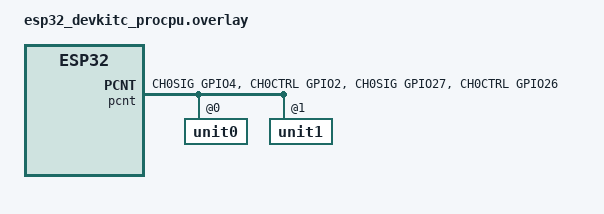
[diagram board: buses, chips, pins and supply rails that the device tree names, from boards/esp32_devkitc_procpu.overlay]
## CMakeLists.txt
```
# SPDX-License-Identifier: Apache-2.0

cmake_minimum_required(VERSION 3.28.0)
find_package(Zephyr REQUIRED HINTS $ENV{ZEPHYR_BASE})
project(pcnt_trigger)

file(GLOB app_sources src/*.c)
target_sources(app PRIVATE ${app_sources})
```

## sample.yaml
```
sample:
  description: ESP32 PCNT per-unit threshold trigger sample
  name: ESP32 qdec per-unit trigger
tests:
  sample.esp32.qdec_trigger:
    build_only: true
    tags:
      - samples
      - sensor
    platform_allow:
      - esp32_devkitc/esp32/procpu
      - esp32s2_saola
      - esp32s3_devkitc/esp32s3/procpu
      - esp32c5_devkitc/esp32c5/hpcore
      - esp32c6_devkitc/esp32c6/hpcore
      - esp32h2_devkitm/esp32h2
      - esp32p4_function_ev_board/esp32p4/hpcore
    depends_on: pinctrl
```

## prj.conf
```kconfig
CONFIG_SENSOR=y
CONFIG_PCNT_ESP32_TRIGGER=y
CONFIG_PRINTK=y
```

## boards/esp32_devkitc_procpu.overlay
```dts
/*
 * SPDX-License-Identifier: Apache-2.0
 *
 * Copyright (c) 2026 Espressif Systems (Shanghai) Co., Ltd.
 */

&pinctrl {
	pcnt_default: pcnt_default {
		group1 {
			pinmux = <PCNT0_CH0SIG_GPIO4>,
				 <PCNT0_CH0CTRL_GPIO2>,
				 <PCNT1_CH0SIG_GPIO27>,
				 <PCNT1_CH0CTRL_GPIO26>;
			bias-pull-up;
		};
	};
};

&pcnt {
	pinctrl-0 = <&pcnt_default>;
	pinctrl-names = "default";
	#address-cells = <1>;
	#size-cells = <0>;
	status = "okay";

	unit0@0 {
		reg = <0>;
		#address-cells = <1>;
		#size-cells = <0>;
		filter = <100>;
		counts-per-revolution = <400>;

		channelA@0 {
			reg = <0>;
			sig-pos-mode = <1>;
			sig-neg-mode = <0>;
			ctrl-h-mode = <0>;
			ctrl-l-mode = <0>;
		};
	};

	unit1@1 {
		reg = <1>;
		#address-cells = <1>;
		#size-cells = <0>;
		filter = <100>;
		counts-per-revolution = <400>;

		channelA@0 {
			reg = <0>;
			sig-pos-mode = <1>;
			sig-neg-mode = <0>;
			ctrl-h-mode = <0>;
			ctrl-l-mode = <0>;
		};
	};
};
```

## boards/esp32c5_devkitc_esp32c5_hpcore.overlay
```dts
/*
 * SPDX-License-Identifier: Apache-2.0
 *
 * Copyright (c) 2026 Espressif Systems (Shanghai) Co., Ltd.
 */

&pinctrl {
	pcnt_default: pcnt_default {
		group1 {
			pinmux = <PCNT0_CH0SIG_GPIO1>,
				 <PCNT0_CH0CTRL_GPIO9>,
				 <PCNT1_CH0SIG_GPIO13>,
				 <PCNT1_CH0CTRL_GPIO14>;
			bias-pull-up;
		};
	};
};

&pcnt {
	pinctrl-0 = <&pcnt_default>;
	pinctrl-names = "default";
	#address-cells = <1>;
	#size-cells = <0>;
	status = "okay";

	unit0@0 {
		reg = <0>;
		#address-cells = <1>;
		#size-cells = <0>;
		filter = <100>;
		counts-per-revolution = <400>;

		channelA@0 {
			reg = <0>;
			sig-pos-mode = <1>;
			sig-neg-mode = <0>;
			ctrl-h-mode = <0>;
			ctrl-l-mode = <0>;
		};
	};

	unit1@1 {
		reg = <1>;
		#address-cells = <1>;
		#size-cells = <0>;
		filter = <100>;
		counts-per-revolution = <400>;

		channelA@0 {
			reg = <0>;
			sig-pos-mode = <1>;
			sig-neg-mode = <0>;
			ctrl-h-mode = <0>;
			ctrl-l-mode = <0>;
		};
	};
};
```

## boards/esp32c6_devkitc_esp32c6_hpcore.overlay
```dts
/*
 * SPDX-License-Identifier: Apache-2.0
 *
 * Copyright (c) 2026 Espressif Systems (Shanghai) Co., Ltd.
 */

&pinctrl {
	pcnt_default: pcnt_default {
		group1 {
			pinmux = <PCNT0_CH0SIG_GPIO1>,
				 <PCNT0_CH0CTRL_GPIO15>,
				 <PCNT1_CH0SIG_GPIO3>,
				 <PCNT1_CH0CTRL_GPIO4>;
			bias-pull-up;
		};
	};
};

&pcnt {
	pinctrl-0 = <&pcnt_default>;
	pinctrl-names = "default";
	#address-cells = <1>;
	#size-cells = <0>;
	status = "okay";

	unit0@0 {
		reg = <0>;
		#address-cells = <1>;
		#size-cells = <0>;
		filter = <100>;
		counts-per-revolution = <400>;

		channelA@0 {
			reg = <0>;
			sig-pos-mode = <1>;
			sig-neg-mode = <0>;
			ctrl-h-mode = <0>;
			ctrl-l-mode = <0>;
		};
	};

	unit1@1 {
		reg = <1>;
		#address-cells = <1>;
		#size-cells = <0>;
		filter = <100>;
		counts-per-revolution = <400>;

		channelA@0 {
			reg = <0>;
			sig-pos-mode = <1>;
			sig-neg-mode = <0>;
			ctrl-h-mode = <0>;
			ctrl-l-mode = <0>;
		};
	};
};
```

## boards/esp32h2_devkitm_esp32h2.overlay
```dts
/*
 * SPDX-License-Identifier: Apache-2.0
 *
 * Copyright (c) 2026 Espressif Systems (Shanghai) Co., Ltd.
 *
 * H2 PCNT input matrix only reaches GPIOs 0-5, 8-14, 22-27.
 */

&pinctrl {
	pcnt_default: pcnt_default {
		group1 {
			pinmux = <PCNT0_CH0SIG_GPIO0>,
				 <PCNT0_CH0CTRL_GPIO4>,
				 <PCNT1_CH0SIG_GPIO1>,
				 <PCNT1_CH0CTRL_GPIO5>;
			bias-pull-up;
		};
	};
};

&pcnt {
	pinctrl-0 = <&pcnt_default>;
	pinctrl-names = "default";
	#address-cells = <1>;
	#size-cells = <0>;
	status = "okay";

	unit0@0 {
		reg = <0>;
		#address-cells = <1>;
		#size-cells = <0>;
		filter = <100>;
		counts-per-revolution = <400>;

		channelA@0 {
			reg = <0>;
			sig-pos-mode = <1>;
			sig-neg-mode = <0>;
			ctrl-h-mode = <0>;
			ctrl-l-mode = <0>;
		};
	};

	unit1@1 {
		reg = <1>;
		#address-cells = <1>;
		#size-cells = <0>;
		filter = <100>;
		counts-per-revolution = <400>;

		channelA@0 {
			reg = <0>;
			sig-pos-mode = <1>;
			sig-neg-mode = <0>;
			ctrl-h-mode = <0>;
			ctrl-l-mode = <0>;
		};
	};
};
```

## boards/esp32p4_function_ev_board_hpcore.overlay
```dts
/*
 * SPDX-License-Identifier: Apache-2.0
 *
 * Copyright (c) 2026 Espressif Systems (Shanghai) Co., Ltd.
 */

&pinctrl {
	pcnt_default: pcnt_default {
		group1 {
			pinmux = <PCNT0_CH0SIG_GPIO10>,
				 <PCNT0_CH0CTRL_GPIO11>,
				 <PCNT1_CH0SIG_GPIO12>,
				 <PCNT1_CH0CTRL_GPIO13>;
			bias-pull-up;
		};
	};
};

&pcnt {
	pinctrl-0 = <&pcnt_default>;
	pinctrl-names = "default";
	status = "okay";
	#address-cells = <1>;
	#size-cells = <0>;

	unit0@0 {
		reg = <0>;
		#address-cells = <1>;
		#size-cells = <0>;
		filter = <100>;
		counts-per-revolution = <400>;

		channelA@0 {
			reg = <0>;
			sig-pos-mode = <1>;
			sig-neg-mode = <0>;
			ctrl-h-mode = <0>;
			ctrl-l-mode = <0>;
		};
	};

	unit1@1 {
		reg = <1>;
		#address-cells = <1>;
		#size-cells = <0>;
		filter = <100>;
		counts-per-revolution = <400>;

		channelA@0 {
			reg = <0>;
			sig-pos-mode = <1>;
			sig-neg-mode = <0>;
			ctrl-h-mode = <0>;
			ctrl-l-mode = <0>;
		};
	};
};
```

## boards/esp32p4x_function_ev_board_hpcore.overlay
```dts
/*
 * SPDX-License-Identifier: Apache-2.0
 *
 * Copyright (c) 2026 Espressif Systems (Shanghai) Co., Ltd.
 */

&pinctrl {
	pcnt_default: pcnt_default {
		group1 {
			pinmux = <PCNT0_CH0SIG_GPIO10>,
				 <PCNT0_CH0CTRL_GPIO11>,
				 <PCNT1_CH0SIG_GPIO12>,
				 <PCNT1_CH0CTRL_GPIO13>;
			bias-pull-up;
		};
	};
};

&pcnt {
	pinctrl-0 = <&pcnt_default>;
	pinctrl-names = "default";
	#address-cells = <1>;
	#size-cells = <0>;
	status = "okay";

	unit0@0 {
		reg = <0>;
		#address-cells = <1>;
		#size-cells = <0>;
		filter = <100>;
		counts-per-revolution = <400>;

		channelA@0 {
			reg = <0>;
			sig-pos-mode = <1>;
			sig-neg-mode = <0>;
			ctrl-h-mode = <0>;
			ctrl-l-mode = <0>;
		};
	};

	unit1@1 {
		reg = <1>;
		#address-cells = <1>;
		#size-cells = <0>;
		filter = <100>;
		counts-per-revolution = <400>;

		channelA@0 {
			reg = <0>;
			sig-pos-mode = <1>;
			sig-neg-mode = <0>;
			ctrl-h-mode = <0>;
			ctrl-l-mode = <0>;
		};
	};
};
```

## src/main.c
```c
/*
 * Copyright (c) 2026 Espressif Systems (Shanghai) Co., Ltd.
 *
 * SPDX-License-Identifier: Apache-2.0
 */

#include <stdio.h>
#include <zephyr/kernel.h>
#include <zephyr/device.h>
#include <zephyr/drivers/sensor.h>
#include <zephyr/drivers/sensor/pcnt_esp32.h>

#define PCNT_NODE DT_NODELABEL(pcnt)

static volatile uint32_t unit0_hits;
static volatile uint32_t unit1_hits;

static void unit0_handler(const struct device *dev, const struct sensor_trigger *trig)
{
	ARG_UNUSED(dev);
	ARG_UNUSED(trig);
	unit0_hits++;
}

static void unit1_handler(const struct device *dev, const struct sensor_trigger *trig)
{
	ARG_UNUSED(dev);
	ARG_UNUSED(trig);
	unit1_hits++;
}

int main(void)
{
	const struct device *dev = DEVICE_DT_GET(PCNT_NODE);
	struct sensor_value v;
	int rc;

	static struct sensor_trigger trig0 = {
		.type = SENSOR_TRIG_THRESHOLD,
		.chan = SENSOR_CHAN_ROTATION,
	};
	static struct sensor_trigger trig1 = {
		.type = SENSOR_TRIG_THRESHOLD,
		.chan = SENSOR_CHAN_PCNT_ESP32_UNIT(1),
	};

	if (!device_is_ready(dev)) {
		printf("pcnt not ready\n");
		return 0;
	}

	v.val1 = 100;
	v.val2 = 0;
	rc = sensor_attr_set(dev, SENSOR_CHAN_ROTATION, SENSOR_ATTR_UPPER_THRESH, &v);
	printf("unit0 upper_thresh=100: rc=%d\n", rc);

	v.val1 = -100;
	rc = sensor_attr_set(dev, SENSOR_CHAN_PCNT_ESP32_UNIT(1), SENSOR_ATTR_LOWER_THRESH, &v);
	printf("unit1 lower_thresh=-100: rc=%d\n", rc);

	rc = sensor_trigger_set(dev, &trig0, unit0_handler);
	rc |= sensor_trigger_set(dev, &trig1, unit1_handler);
	printf("triggers armed: rc=%d\n", rc);

	while (1) {
		k_msleep(1000);
		printf("hits unit0=%u unit1=%u\n", unit0_hits, unit1_hits);
	}
	return 0;
}
```
